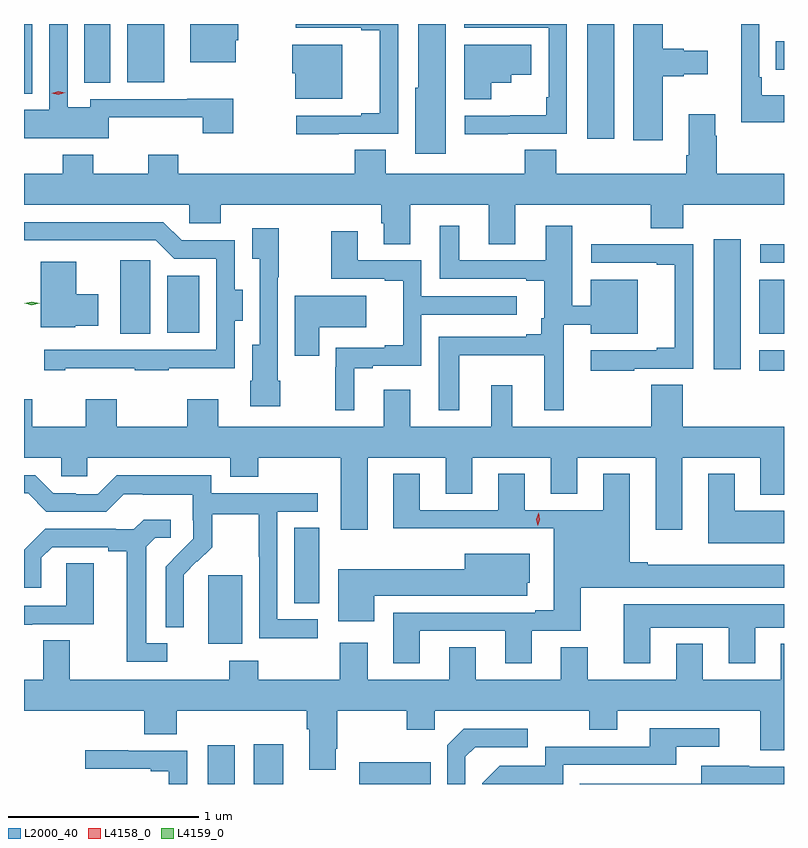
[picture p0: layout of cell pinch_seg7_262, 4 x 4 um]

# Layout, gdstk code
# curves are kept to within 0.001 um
import gdstk
lib = gdstk.Library(unit=1e-6, precision=1e-09)
def R(c, l, rs):  # rectangles x0, y0, x1, y1
    for r in rs: c.add(gdstk.rectangle(r[:2], r[2:], *l))
def P(c, l, *ps):  # polygons
    for p in ps: c.add(gdstk.Polygon(p, *l))
L2000_40 = (2000, 40)
L4158_0 = (4158, 0)
L4159_0 = (4159, 0)

pinch_seg7_262 = lib.new_cell('pinch_seg7_262')
R(pinch_seg7_262, L2000_40, [(792.491,1026.871,792.634,1027.075), (792.734,1026.871,792.889,1027.081), (793.29,1026.871,793.667,1026.985), (792.494,1027.61,792.673,1027.971), (792.947,1027.822,793.078,1028.219), (795.396,1029.045,795.525,1029.153), (795.155,1029.054,795.298,1029.739), (792.032,1029.241,792.19,1029.628), (795.395,1029.242,795.525,1029.526), (792.278,1029.245,792.448,1029.547), (795.399,1029.615,795.525,1029.713), (794.489,1030.266,794.632,1030.871), (791.525,1030.505,791.569,1030.871), (791.843,1030.561,791.98,1030.871), (792.068,1030.565,792.262,1030.871), (795.481,1030.631,795.525,1030.779)])
P(pinch_seg7_262, L2000_40, [(793.744,1030.871),(793.601,1030.871),(793.601,1030.536),(793.583,1030.536),(793.583,1030.188),(793.744,1030.188)],
  [(793.181,1030.293),(793.494,1030.293),(793.494,1030.871),(792.954,1030.871),(792.954,1030.851),(793.301,1030.851),(793.301,1030.839),(793.397,1030.839),(793.397,1030.402),(793.301,1030.402),(793.301,1030.389),(792.957,1030.389),(792.957,1030.292),(793.181,1030.292)],
  [(792.64,1030.785),(792.652,1030.785),(792.652,1030.871),(792.401,1030.871),(792.401,1030.67),(792.64,1030.67)],
  [(794.072,1030.293),(794.382,1030.293),(794.382,1030.871),(793.842,1030.871),(793.842,1030.851),(794.286,1030.851),(794.286,1030.486),(794.274,1030.486),(794.274,1030.391),(794.085,1030.391),(794.085,1030.389),(793.845,1030.389),(793.845,1030.292),(794.072,1030.292)],
  [(795.525,1030.495),(795.409,1030.495),(795.409,1030.591),(795.396,1030.591),(795.396,1030.871),(795.299,1030.871),(795.299,1030.355),(795.525,1030.355)],
  [(794.887,1030.595),(794.997,1030.595),(794.997,1030.607),(795.124,1030.607),(795.124,1030.729),(794.997,1030.729),(794.997,1030.742),(794.887,1030.742),(794.887,1030.871),(794.732,1030.871),(794.732,1030.26),(794.887,1030.26)],
  [(791.97,1030.379),(792.467,1030.379),(792.467,1030.296),(792.627,1030.296),(792.627,1030.478),(792.383,1030.478),(792.383,1030.476),(791.874,1030.476),(791.874,1030.432),(791.754,1030.432),(791.754,1030.871),(791.658,1030.871),(791.658,1030.42),(791.525,1030.42),(791.525,1030.271),(791.97,1030.271)],
  [(793.983,1030.562),(794.089,1030.562),(794.089,1030.604),(794.194,1030.604),(794.194,1030.762),(793.841,1030.762),(793.841,1030.474),(793.983,1030.474)],
  [(793.201,1030.762),(792.938,1030.762),(792.938,1030.611),(792.953,1030.611),(792.953,1030.478),(793.201,1030.478)],
  [(793.558,1029.92),(793.97,1029.92),(793.97,1029.712),(794.11,1029.712),(794.11,1029.92),(794.824,1029.92),(794.824,1029.796),(794.996,1029.796),(794.996,1029.92),(795.525,1029.92),(795.525,1030.084),(795.171,1030.084),(795.171,1030.283),(795.163,1030.283),(795.163,1030.396),(795.023,1030.396),(795.023,1030.18),(795.011,1030.18),(795.011,1030.084),(794.327,1030.084),(794.327,1030.208),(794.161,1030.208),(794.161,1030.084),(793.429,1030.084),(793.429,1030.208),(793.265,1030.208),(793.265,1030.084),(792.338,1030.084),(792.338,1030.183),(792.178,1030.183),(792.178,1030.084),(791.889,1030.084),(791.889,1030.183),(791.729,1030.183),(791.729,1030.084),(791.525,1030.084),(791.525,1029.92),(792.396,1029.92),(792.396,1029.822),(792.56,1029.822),(792.56,1029.92),(793.406,1029.92),(793.406,1029.822),(793.418,1029.822),(793.418,1029.712),(793.558,1029.712)],
  [(791.743,1029.059),(792.109,1029.059),(792.109,1029.048),(792.287,1029.048),(792.287,1029.059),(792.633,1029.059),(792.633,1029.308),(792.676,1029.308),(792.676,1029.472),(792.634,1029.472),(792.634,1029.732),(792.354,1029.732),(792.258,1029.828),(791.525,1029.828),(791.525,1029.732),(792.219,1029.732),(792.315,1029.636),(792.537,1029.636),(792.537,1029.156),(791.631,1029.156),(791.631,1029.048),(791.743,1029.048)],
  [(793.816,1029.128),(794.264,1029.128),(794.264,1028.837),(794.365,1028.837),(794.365,1029.287),(794.507,1029.287),(794.507,1029.242),(794.755,1029.242),(794.755,1029.526),(794.507,1029.526),(794.507,1029.387),(794.41,1029.387),(794.41,1029.808),(794.27,1029.808),(794.27,1029.627),(793.816,1029.627),(793.816,1029.808),(793.712,1029.808),(793.712,1029.531),(794.168,1029.531),(794.168,1029.519),(794.264,1029.519),(794.264,1029.322),(794.247,1029.322),(794.247,1029.238),(794.168,1029.238),(794.168,1029.225),(793.709,1029.225),(793.709,1028.837),(793.816,1028.837)],
  [(792.874,1028.994),(792.861,1028.994),(792.861,1029.539),(792.866,1029.539),(792.866,1029.796),(792.725,1029.796),(792.725,1029.635),(792.765,1029.635),(792.765,1029.184),(792.725,1029.184),(792.725,1028.994),(792.716,1028.994),(792.716,1028.858),(792.874,1028.858)],
  [(793.264,1029.06),(793.36,1029.06),(793.36,1029.072),(793.617,1029.072),(793.617,1029.342),(794.119,1029.342),(794.119,1029.438),(793.617,1029.438),(793.617,1029.627),(793.282,1029.627),(793.282,1029.781),(793.142,1029.781),(793.142,1029.531),(793.424,1029.531),(793.424,1029.519),(793.52,1029.519),(793.52,1029.18),(793.424,1029.18),(793.424,1029.168),(793.167,1029.168),(793.167,1029.065),(793.162,1029.065),(793.162,1028.837),(793.264,1028.837)],
  [(794.738,1029.057),(795.048,1029.057),(795.048,1029.711),(794.735,1029.711),(794.735,1029.713),(794.511,1029.713),(794.511,1029.615),(794.855,1029.615),(794.855,1029.603),(794.951,1029.603),(794.951,1029.166),(794.855,1029.166),(794.855,1029.153),(794.508,1029.153),(794.508,1029.045),(794.738,1029.045)],
  [(791.796,1029.284),(791.917,1029.284),(791.917,1029.448),(791.8,1029.448),(791.8,1029.619),(791.612,1029.619),(791.612,1029.275),(791.796,1029.275)],
  [(793.078,1029.275),(793.327,1029.275),(793.327,1029.442),(792.95,1029.442),(792.95,1029.126),(793.078,1029.126)],
  [(793.333,1028.588),(793.745,1028.588),(793.745,1028.398),(793.885,1028.398),(793.885,1028.588),(794.297,1028.588),(794.297,1028.398),(794.437,1028.398),(794.437,1028.588),(794.849,1028.588),(794.849,1028.208),(794.989,1028.208),(794.989,1028.588),(795.401,1028.588),(795.401,1028.394),(795.525,1028.394),(795.525,1028.752),(794.993,1028.752),(794.993,1028.972),(794.827,1028.972),(794.827,1028.752),(794.095,1028.752),(794.095,1028.971),(793.985,1028.971),(793.985,1028.752),(793.558,1028.752),(793.558,1028.947),(793.418,1028.947),(793.418,1028.752),(792.547,1028.752),(792.547,1028.896),(792.383,1028.896),(792.383,1028.752),(792.013,1028.752),(792.013,1028.896),(791.849,1028.896),(791.849,1028.752),(791.569,1028.752),(791.569,1028.896),(791.525,1028.896),(791.525,1028.588),(791.721,1028.588),(791.721,1028.49),(791.859,1028.49),(791.859,1028.588),(792.611,1028.588),(792.611,1028.489),(792.759,1028.489),(792.759,1028.588),(793.193,1028.588),(793.193,1028.208),(793.333,1028.208)],
  [(793.609,1027.677),(794.057,1027.677),(794.057,1027.506),(794.197,1027.506),(794.197,1027.677),(794.455,1027.677),(794.455,1027.904),(795.525,1027.904),(795.525,1028.026),(794.809,1028.026),(794.809,1028.039),(794.713,1028.039),(794.713,1028.503),(794.573,1028.503),(794.573,1028.313),(794.161,1028.313),(794.161,1028.503),(794.021,1028.503),(794.021,1028.313),(793.609,1028.313),(793.609,1028.503),(793.469,1028.503),(793.469,1028.216),(794.312,1028.216),(794.312,1027.786),(794.216,1027.786),(794.216,1027.773),(793.469,1027.773),(793.469,1027.506),(793.609,1027.506)],
  [(795.525,1028.308),(795.265,1028.308),(795.265,1028.503),(795.125,1028.503),(795.125,1028.138),(795.525,1028.138)],
  [(793.072,1027.737),(792.858,1027.737),(792.858,1028.304),(793.072,1028.304),(793.072,1028.4),(792.51,1028.4),(792.51,1028.497),(792.013,1028.497),(791.913,1028.397),(791.798,1028.397),(791.798,1028.4),(791.679,1028.4),(791.583,1028.496),(791.525,1028.496),(791.525,1028.4),(791.547,1028.4),(791.643,1028.304),(791.958,1028.304),(792.051,1028.397),(792.151,1028.397),(792.151,1028.393),(792.414,1028.393),(792.414,1028.259),(792.416,1028.259),(792.416,1028.162),(792.27,1028.014),(792.27,1027.696),(792.366,1027.696),(792.365,1027.973),(792.435,1028.043),(792.438,1028.04),(792.515,1028.117),(792.515,1028.292),(792.76,1028.292),(792.76,1028.068),(792.762,1028.068),(792.762,1027.639),(793.072,1027.639)],
  [(792.28,1027.611),(792.169,1027.611),(792.169,1028.119),(792.216,1028.166),(792.298,1028.166),(792.298,1028.263),(792.154,1028.263),(792.102,1028.211),(792.008,1028.211),(792.008,1028.214),(791.636,1028.214),(791.525,1028.103),(791.525,1027.905),(791.617,1027.905),(791.617,1028.061),(791.674,1028.118),(791.969,1028.118),(791.969,1028.096),(792.065,1028.096),(792.065,1027.515),(792.28,1027.515)],
  [(793.369,1027.862),(794.173,1027.862),(794.173,1027.929),(794.188,1027.929),(794.188,1028.083),(793.844,1028.083),(793.844,1028.002),(793.178,1028.002),(793.178,1027.727),(793.369,1027.727)],
  [(791.569,1027.713),(791.893,1027.713),(791.893,1028.033),(791.748,1028.033),(791.748,1027.809),(791.525,1027.809),(791.525,1027.709),(791.569,1027.709)],
  [(794.821,1027.694),(795.233,1027.694),(795.233,1027.506),(795.373,1027.506),(795.373,1027.694),(795.525,1027.694),(795.525,1027.816),(794.681,1027.816),(794.681,1027.506),(794.821,1027.506)],
  [(793.165,1027.057),(793.173,1027.057),(793.173,1027.256),(793.54,1027.256),(793.54,1027.157),(793.686,1027.157),(793.686,1027.256),(794.5,1027.256),(794.5,1027.157),(794.647,1027.157),(794.647,1027.256),(795.401,1027.256),(795.401,1027.048),(795.525,1027.048),(795.525,1027.609),(795.509,1027.609),(795.509,1027.42),(795.097,1027.42),(795.097,1027.609),(794.957,1027.609),(794.957,1027.42),(794.491,1027.42),(794.491,1027.592),(794.351,1027.592),(794.351,1027.42),(793.903,1027.42),(793.903,1027.592),(793.763,1027.592),(793.763,1027.42),(793.333,1027.42),(793.333,1027.615),(793.186,1027.615),(793.186,1027.42),(792.759,1027.42),(792.759,1027.519),(792.604,1027.519),(792.604,1027.42),(791.767,1027.42),(791.767,1027.628),(791.627,1027.628),(791.627,1027.42),(791.525,1027.42),(791.525,1027.256),(792.158,1027.256),(792.158,1027.132),(792.329,1027.132),(792.329,1027.256),(793.013,1027.256),(793.013,1027.16),(793.025,1027.16),(793.025,1026.945),(793.165,1026.945)],
  [(794.364,1026.972),(794.959,1026.972),(794.959,1027.068),(795.184,1027.068),(795.184,1027.164),(794.819,1027.164),(794.819,1027.068),(794.268,1027.068),(794.268,1026.966),(794.028,1026.966),(793.938,1026.876),(793.938,1026.871),(794.364,1026.871)],
  [(793.848,1027.014),(793.899,1027.065),(794.176,1027.065),(794.176,1027.161),(793.839,1027.161),(793.752,1027.074),(793.752,1026.871),(793.848,1026.871)],
  [(792.384,1027.047),(792.074,1027.047),(792.074,1027.049),(791.847,1027.049),(791.847,1026.951),(792.191,1026.951),(792.191,1026.939),(792.287,1026.939),(792.287,1026.871),(792.384,1026.871)],
  [(795.525,1026.963),(795.343,1026.963),(795.343,1026.967),(795.089,1026.967),(795.089,1026.873),(794.449,1026.873),(794.449,1026.871),(795.525,1026.871)])
P(pinch_seg7_262, L4158_0, [(791.706,1030.498),(791.672,1030.507),(791.671,1030.507),(791.672,1030.507),(791.706,1030.518),(791.741,1030.509),(791.741,1030.509),(791.741,1030.509)],
  [(794.228,1028.23),(794.228,1028.23),(794.22,1028.265),(794.233,1028.298),(794.233,1028.298),(794.233,1028.298),(794.24,1028.263),(794.228,1028.23)])
P(pinch_seg7_262, L4159_0, [(791.567,1029.39),(791.526,1029.4),(791.526,1029.4),(791.526,1029.4),(791.567,1029.41),(791.608,1029.4),(791.608,1029.4),(791.608,1029.4)])

lib.write_gds('pinch_seg7_262.gds')
